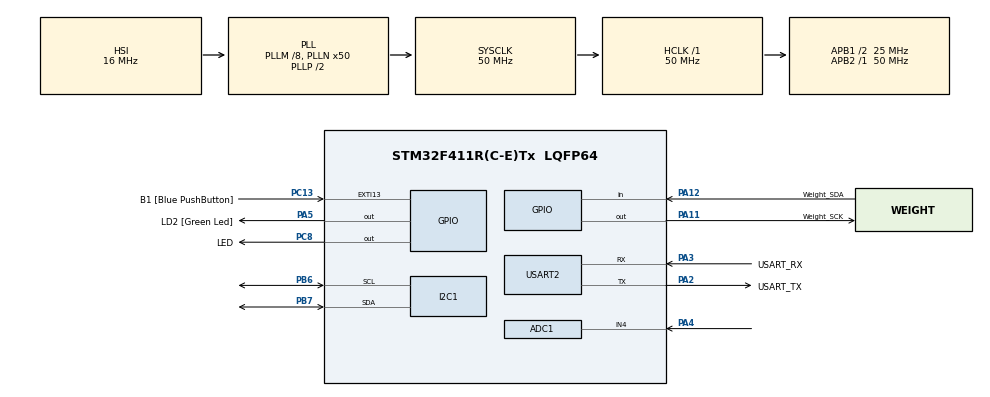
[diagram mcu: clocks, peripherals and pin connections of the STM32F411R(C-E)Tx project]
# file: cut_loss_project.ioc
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ADC1.Channel-1\#ChannelRegularConversion=ADC_CHANNEL_4
ADC1.NbrOfConversionFlag=1
ADC1.Rank-1\#ChannelRegularConversion=1
ADC1.SamplingTime-1\#ChannelRegularConversion=ADC_SAMPLETIME_3CYCLES
ADC1.master=1
FREERTOS.Mutexes01=WeightMutex,Dynamic,NULL
FREERTOS.Tasks01=defaultTask,24,128,StartDefaultTask,Default,NULL,Dynamic,NULL,NULL;weightSensing,8,128,StartWeightSense,Default,NULL,Dynamic,NULL,NULL;resetWeight,8,128,ResetWeightHandle,Default,NULL,Dynamic,NULL,NULL;ledDisplay,8,128,StartWatchLDR,Default,NULL,Dynamic,NULL,NULL
I2C1.OwnAddress=1
Mcu.Family=STM32F4
Mcu.Name=STM32F411R(C-E)Tx
Mcu.Package=LQFP64
NVIC.PriorityGroup=NVIC_PRIORITYGROUP_4
PA11.GPIO_Label=Weight_SCK
PA11.Signal=GPIO_Output
PA12.GPIO_Label=Weight_SDA
PA12.Signal=GPIO_Input
PA13.GPIO_Label=TMS
PA13.Mode=Serial_Wire
PA13.Signal=SYS_JTMS-SWDIO
PA14.GPIO_Label=TCK
PA14.Mode=Serial_Wire
PA14.Signal=SYS_JTCK-SWCLK
PA2.GPIO_Label=USART_TX
PA2.Mode=Asynchronous
PA2.Signal=USART2_TX
PA3.GPIO_Label=USART_RX
PA3.Mode=Asynchronous
PA3.Signal=USART2_RX
PA4.Signal=ADCx_IN4
PA5.GPIO_Label=LD2 [Green Led]
PA5.Signal=GPIO_Output
PB3.GPIO_Label=SWO
PB3.Signal=SYS_JTDO-SWO
PB6.Mode=I2C
PB6.Signal=I2C1_SCL
PB7.Mode=I2C
PB7.Signal=I2C1_SDA
PC13-ANTI_TAMP.GPIO_Label=B1 [Blue PushButton]
PC13-ANTI_TAMP.GPIO_ModeDefaultEXTI=GPIO_MODE_IT_FALLING
PC13-ANTI_TAMP.Signal=GPXTI13
PC14-OSC32_IN.Mode=LSE-External-Oscillator
PC14-OSC32_IN.Signal=RCC_OSC32_IN
PC15-OSC32_OUT.Mode=LSE-External-Oscillator
PC15-OSC32_OUT.Signal=RCC_OSC32_OUT
PC8.GPIO_Label=LED
PC8.GPIO_ModeDefaultOutputPP=GPIO_MODE_OUTPUT_PP
PC8.GPIO_PuPd=GPIO_NOPULL
PC8.Signal=GPIO_Output
PH0\ -\ OSC_IN.Mode=HSE-External-Clock-Source
PH0\ -\ OSC_IN.Signal=RCC_OSC_IN
PH1\ -\ OSC_OUT.Mode=HSE-External-Clock-Source
PH1\ -\ OSC_OUT.Signal=RCC_OSC_OUT
ProjectManager.HeapSize=0x200
ProjectManager.StackSize=0x400
ProjectManager.TargetToolchain=STM32CubeIDE
RCC.48MHZClocksFreq_Value=25000000
RCC.AHBFreq_Value=50000000
RCC.APB1CLKDivider=RCC_HCLK_DIV2
RCC.APB1Freq_Value=25000000
RCC.APB1TimFreq_Value=50000000
RCC.APB2Freq_Value=50000000
RCC.APB2TimFreq_Value=50000000
RCC.CortexFreq_Value=50000000
RCC.FLatency-AdvancedSettings=FLASH_LATENCY_1
RCC.HCLKFreq_Value=50000000
RCC.HSE_VALUE=8000000
RCC.HSI_VALUE=16000000
RCC.PLLM=8
RCC.PLLN=50
RCC.SYSCLKFreq_VALUE=50000000
RCC.SYSCLKSource=RCC_SYSCLKSOURCE_PLLCLK
RCC.VCOOutputFreq_Value=100000000
SH.ADCx_IN4.0=ADC1_IN4,IN4
USART2.VirtualMode=VM_ASYNC
VP_FREERTOS_VS_CMSIS_V2.Mode=CMSIS_V2
board=NUCLEO-F411RE

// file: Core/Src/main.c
/* USER CODE BEGIN Header */
/**
 ******************************************************************************
 * @file           : main.c
 * @brief          : Main program body
 ******************************************************************************
 * @attention
 *
 * Copyright (c) 2022 STMicroelectronics.
 * All rights reserved.
 *
 * This software is licensed under terms that can be found in the LICENSE file
 * in the root directory of this software component.
 * If no LICENSE file comes with this software, it is provided AS-IS.
 *
 ******************************************************************************
 */
/* USER CODE END Header */
#include "main.h"
#include "cmsis_os.h"

ADC_HandleTypeDef hadc1;

I2C_HandleTypeDef hi2c1;

UART_HandleTypeDef huart2;

/* Definitions for defaultTask */
osThreadId_t defaultTaskHandle;
const osThreadAttr_t defaultTask_attributes = {
  .name = "defaultTask",
  .stack_size = 128 * 4,
  .priority = (osPriority_t) osPriorityNormal,
};
/* Definitions for weightSensing */
osThreadId_t weightSensingHandle;
const osThreadAttr_t weightSensing_attributes = {
  .name = "weightSensing",
  .stack_size = 128 * 4,
  .priority = (osPriority_t) osPriorityLow,
};
/* Definitions for resetWeight */
osThreadId_t resetWeightHandle;
const osThreadAttr_t resetWeight_attributes = {
  .name = "resetWeight",
  .stack_size = 128 * 4,
  .priority = (osPriority_t) osPriorityNormal,
};
/* Definitions for ledDisplay */
osThreadId_t ledDisplayHandle;
const osThreadAttr_t ledDisplay_attributes = {
  .name = "ledDisplay",
  .stack_size = 128 * 4,
  .priority = (osPriority_t) osPriorityLow,
};
/* Definitions for WeightMutex */
osMutexId_t WeightMutexHandle;
const osMutexAttr_t WeightMutex_attributes = {
  .name = "WeightMutex"
};
/* USER CODE BEGIN PV */
const uint32_t AVERAGE_ROUND = 30;
uint32_t base_weight = 0;
uint32_t result_offset = 7000;
uint32_t divider = 60;
uint32_t AD_RES;
uint8_t is_reset = 0;

// Positive difference threshold
const uint32_t POSITIVE_THRESHOLD = 300;

// Negative difference threshold
const uint32_t NEGATIVE_THRESHOLD = 300; // Measurement error in average case is around +-250

// Current captured weight
uint32_t captured_weight = 0;
uint32_t now_weight;

// LDR Threshold
float LDR_MX = 3500;
float LDR_MN = 800;

/* USER CODE END PV */

void SystemClock_Config(void);
static void MX_GPIO_Init(void);
static void MX_USART2_UART_Init(void);
static void MX_I2C1_Init(void);
static void MX_ADC1_Init(void);
void StartDefaultTask(void *argument);
void StartWeightSense(void *argument);
void ResetWeightHandle(void *argument);
void StartWatchLDR(void *argument);

/* USER CODE BEGIN PFP */

/**
 * Use for delay in microsecond (Reference to clock speed) by called assembly instruction NOP
 * Credit to https://github.com/nimaltd/HX711/blob/a5a317e818fee1aa02c729257cff0308e5ac61c0/hx711.c#L10
 */

void hx711_delay_us(uint32_t delay) {
	while (delay > 0) {
		delay--;
		asm("NOP");
	}
}

/**
 *  All credit to
 *	- https://cdn.sparkfun.com/datasheets/Sensors/ForceFlex/hx711_english.pdf
 *	- https://github.com/nimaltd/HX711/blob/master/hx711.c
 */
uint32_t read_weight(uint8_t tuning) {
	uint32_t count = 0;
	uint32_t startTime = HAL_GetTick();
	uint8_t found = 1;
	while (HAL_GPIO_ReadPin(Weight_SDA_GPIO_Port, Weight_SDA_Pin)) {
		osDelay(1);

		// Timeout
		if (HAL_GetTick() - startTime > 150) {
			found = 0;
			break;
		}
	}

	if (!found) {
		return 0;
	}

	for (int i = 0; i < 24; ++i) {
		HAL_GPIO_WritePin(Weight_SCK_GPIO_Port, Weight_SCK_Pin, GPIO_PIN_SET);
		hx711_delay_us(20);

		count <<= 1;

		HAL_GPIO_WritePin(Weight_SCK_GPIO_Port, Weight_SCK_Pin, GPIO_PIN_RESET);
		hx711_delay_us(20);
		if (HAL_GPIO_ReadPin(Weight_SDA_GPIO_Port, Weight_SDA_Pin)
				== GPIO_PIN_SET)
			++count;
	}

	count ^= 0x800000;
	HAL_GPIO_WritePin(Weight_SDA_GPIO_Port, Weight_SDA_Pin, GPIO_PIN_SET);
	hx711_delay_us(20);
	HAL_GPIO_WritePin(Weight_SDA_GPIO_Port, Weight_SDA_Pin, GPIO_PIN_RESET);
	hx711_delay_us(20);

	if (tuning == 1)
		return count;
	if (count < base_weight)
		return 0;
	return (count - base_weight);
}

uint32_t read_weight_average() {
	uint32_t now = 0;
	for (int i = 0; i < AVERAGE_ROUND; ++i) {
		uint32_t nxt = read_weight(0) / divider;

		now += nxt;
		osDelay(1);
	}

	if (now <= result_offset)
		return 0;
	return ((now - result_offset) / AVERAGE_ROUND);
}

void set_zero_weight() {
	uint32_t now = 0;
	for (int i = 0; i < AVERAGE_ROUND; ++i) {
		uint32_t nxt = read_weight(1);
		now += nxt;
		osDelay(1);
		if (nxt == 0) {
			--i;
			continue;
		}
	}

	now /= AVERAGE_ROUND;
	base_weight = now;
}
/* USER CODE END PFP */

int main(void)
{

  /* MCU Configuration--------------------------------------------------------*/

  /* Reset of all peripherals, Initializes the Flash interface and the Systick. */
  HAL_Init();

  /* Configure the system clock */
  SystemClock_Config();

  /* Initialize all configured peripherals */
  MX_GPIO_Init();
  MX_USART2_UART_Init();
  MX_I2C1_Init();
  MX_ADC1_Init();
  /* USER CODE BEGIN 2 */

	// Set zero weight
	for (int i = 0; i < 10; ++i) {
		set_zero_weight();
	}

	// ESP Connection Testing
	HAL_StatusTypeDef esp_check;
	while (1) {
		esp_check = HAL_I2C_Slave_Transmit(&hi2c1, "04", 2, 1000);
		esp_check |= HAL_I2C_Slave_Transmit(&hi2c1, "Test", 4, 1000);

		if (esp_check == HAL_OK)
			break;
		HAL_UART_Transmit(&huart2, "Failed to reach esp8266. Retrying\r\n", 35,
				1000);
		HAL_Delay(1000);
	}

	// Set LED on board to tell that Program is ready
	HAL_GPIO_WritePin(LD2_GPIO_Port, LD2_Pin, GPIO_PIN_SET);

  /* USER CODE END 2 */

  /* Init scheduler */
  osKernelInitialize();
  /* Create the mutex(es) */
  /* creation of WeightMutex */
  WeightMutexHandle = osMutexNew(&WeightMutex_attributes);

  /* Create the thread(s) */
  /* creation of defaultTask */
  defaultTaskHandle = osThreadNew(StartDefaultTask, NULL, &defaultTask_attributes);

  /* creation of weightSensing */
  weightSensingHandle = osThreadNew(StartWeightSense, NULL, &weightSensing_attributes);

  /* creation of resetWeight */
  resetWeightHandle = osThreadNew(ResetWeightHandle, NULL, &resetWeight_attributes);

  /* creation of ledDisplay */
  ledDisplayHandle = osThreadNew(StartWatchLDR, NULL, &ledDisplay_attributes);

  /* Start scheduler */
  osKernelStart();

  /* We should never get here as control is now taken by the scheduler */
  /* Infinite loop */
	while (1) {

	}
}

void SystemClock_Config(void)
{
  RCC_OscInitTypeDef RCC_OscInitStruct = {0};
  RCC_ClkInitTypeDef RCC_ClkInitStruct = {0};

  /** Configure the main internal regulator output voltage
  */
  __HAL_RCC_PWR_CLK_ENABLE();
  __HAL_PWR_VOLTAGESCALING_CONFIG(PWR_REGULATOR_VOLTAGE_SCALE1);
  /** Initializes the RCC Oscillators according to the specified parameters
  * in the RCC_OscInitTypeDef structure.
  */
  RCC_OscInitStruct.OscillatorType = RCC_OSCILLATORTYPE_HSI;
  RCC_OscInitStruct.HSIState = RCC_HSI_ON;
  RCC_OscInitStruct.HSICalibrationValue = RCC_HSICALIBRATION_DEFAULT;
  RCC_OscInitStruct.PLL.PLLState = RCC_PLL_ON;
  RCC_OscInitStruct.PLL.PLLSource = RCC_PLLSOURCE_HSI;
  RCC_OscInitStruct.PLL.PLLM = 8;
  RCC_OscInitStruct.PLL.PLLN = 50;
  RCC_OscInitStruct.PLL.PLLP = RCC_PLLP_DIV2;
  RCC_OscInitStruct.PLL.PLLQ = 4;
  if (HAL_RCC_OscConfig(&RCC_OscInitStruct) != HAL_OK)
  {
    Error_Handler();
  }
  /** Initializes the CPU, AHB and APB buses clocks
  */
  RCC_ClkInitStruct.ClockType = RCC_CLOCKTYPE_HCLK|RCC_CLOCKTYPE_SYSCLK
                              |RCC_CLOCKTYPE_PCLK1|RCC_CLOCKTYPE_PCLK2;
  RCC_ClkInitStruct.SYSCLKSource = RCC_SYSCLKSOURCE_PLLCLK;
  RCC_ClkInitStruct.AHBCLKDivider = RCC_SYSCLK_DIV1;
  RCC_ClkInitStruct.APB1CLKDivider = RCC_HCLK_DIV2;
  RCC_ClkInitStruct.APB2CLKDivider = RCC_HCLK_DIV1;

  if (HAL_RCC_ClockConfig(&RCC_ClkInitStruct, FLASH_LATENCY_1) != HAL_OK)
  {
    Error_Handler();
  }
}

static void MX_ADC1_Init(void)
{

  ADC_ChannelConfTypeDef sConfig = {0};

  /** Configure the global features of the ADC (Clock, Resolution, Data Alignment and number of conversion)
  */
  hadc1.Instance = ADC1;
  hadc1.Init.ClockPrescaler = ADC_CLOCK_SYNC_PCLK_DIV2;
  hadc1.Init.Resolution = ADC_RESOLUTION_12B;
  hadc1.Init.ScanConvMode = DISABLE;
  hadc1.Init.ContinuousConvMode = DISABLE;
  hadc1.Init.DiscontinuousConvMode = DISABLE;
  hadc1.Init.ExternalTrigConvEdge = ADC_EXTERNALTRIGCONVEDGE_NONE;
  hadc1.Init.ExternalTrigConv = ADC_SOFTWARE_START;
  hadc1.Init.DataAlign = ADC_DATAALIGN_RIGHT;
  hadc1.Init.NbrOfConversion = 1;
  hadc1.Init.DMAContinuousRequests = DISABLE;
  hadc1.Init.EOCSelection = ADC_EOC_SINGLE_CONV;
  if (HAL_ADC_Init(&hadc1) != HAL_OK)
  {
    Error_Handler();
  }
  /** Configure for the selected ADC regular channel its corresponding rank in the sequencer and its sample time.
  */
  sConfig.Channel = ADC_CHANNEL_4;
  sConfig.Rank = 1;
  sConfig.SamplingTime = ADC_SAMPLETIME_3CYCLES;
  if (HAL_ADC_ConfigChannel(&hadc1, &sConfig) != HAL_OK)
  {
    Error_Handler();
  }

}

static void MX_I2C1_Init(void)
{

  hi2c1.Instance = I2C1;
  hi2c1.Init.ClockSpeed = 100000;
  hi2c1.Init.DutyCycle = I2C_DUTYCYCLE_2;
  hi2c1.Init.OwnAddress1 = 2;
  hi2c1.Init.AddressingMode = I2C_ADDRESSINGMODE_7BIT;
  hi2c1.Init.DualAddressMode = I2C_DUALADDRESS_DISABLE;
  hi2c1.Init.OwnAddress2 = 0;
  hi2c1.Init.GeneralCallMode = I2C_GENERALCALL_DISABLE;
  hi2c1.Init.NoStretchMode = I2C_NOSTRETCH_DISABLE;
  if (HAL_I2C_Init(&hi2c1) != HAL_OK)
  {
    Error_Handler();
  }

}

static void MX_USART2_UART_Init(void)
{

  huart2.Instance = USART2;
  huart2.Init.BaudRate = 115200;
  huart2.Init.WordLength = UART_WORDLENGTH_8B;
  huart2.Init.StopBits = UART_STOPBITS_1;
  huart2.Init.Parity = UART_PARITY_NONE;
  huart2.Init.Mode = UART_MODE_TX_RX;
  huart2.Init.HwFlowCtl = UART_HWCONTROL_NONE;
  huart2.Init.OverSampling = UART_OVERSAMPLING_16;
  if (HAL_UART_Init(&huart2) != HAL_OK)
  {
    Error_Handler();
  }

}

static void MX_GPIO_Init(void)
{
  GPIO_InitTypeDef GPIO_InitStruct = {0};

  /* GPIO Ports Clock Enable */
  __HAL_RCC_GPIOC_CLK_ENABLE();
  __HAL_RCC_GPIOH_CLK_ENABLE();
  __HAL_RCC_GPIOA_CLK_ENABLE();
  __HAL_RCC_GPIOB_CLK_ENABLE();

  /*Configure GPIO pin Output Level */
  HAL_GPIO_WritePin(GPIOA, LD2_Pin|Weight_SCK_Pin, GPIO_PIN_RESET);

  /*Configure GPIO pin Output Level */
  HAL_GPIO_WritePin(LED_GPIO_Port, LED_Pin, GPIO_PIN_RESET);

  /*Configure GPIO pin : B1_Pin */
  GPIO_InitStruct.Pin = B1_Pin;
  GPIO_InitStruct.Mode = GPIO_MODE_IT_FALLING;
  GPIO_InitStruct.Pull = GPIO_NOPULL;
  HAL_GPIO_Init(B1_GPIO_Port, &GPIO_InitStruct);

  /*Configure GPIO pins : LD2_Pin Weight_SCK_Pin */
  GPIO_InitStruct.Pin = LD2_Pin|Weight_SCK_Pin;
  GPIO_InitStruct.Mode = GPIO_MODE_OUTPUT_PP;
  GPIO_InitStruct.Pull = GPIO_NOPULL;
  GPIO_InitStruct.Speed = GPIO_SPEED_FREQ_LOW;
  HAL_GPIO_Init(GPIOA, &GPIO_InitStruct);

  /*Configure GPIO pin : LED_Pin */
  GPIO_InitStruct.Pin = LED_Pin;
  GPIO_InitStruct.Mode = GPIO_MODE_OUTPUT_PP;
  GPIO_InitStruct.Pull = GPIO_NOPULL;
  GPIO_InitStruct.Speed = GPIO_SPEED_FREQ_LOW;
  HAL_GPIO_Init(LED_GPIO_Port, &GPIO_InitStruct);

  /*Configure GPIO pin : Weight_SDA_Pin */
  GPIO_InitStruct.Pin = Weight_SDA_Pin;
  GPIO_InitStruct.Mode = GPIO_MODE_INPUT;
  GPIO_InitStruct.Pull = GPIO_NOPULL;
  HAL_GPIO_Init(Weight_SDA_GPIO_Port, &GPIO_InitStruct);

}

void StartDefaultTask(void *argument)
{
	for (;;) {
		osDelay(1);
	}
}

void StartWeightSense(void *argument)
{
  /* USER CODE BEGIN StartWeightSense */
	/* Infinite loop */
	for (;;) {
		/**
		 * Weight sensing part
		 */
		if(is_reset) {
			osDelay(10);
			continue;
		}
		now_weight = read_weight_average();
		uint8_t is_transmit_data = 0, is_set_data = 0;
		if (now_weight > captured_weight
				&& now_weight - captured_weight >= POSITIVE_THRESHOLD) {
			osDelay(50);
			now_weight = read_weight_average();
			if (now_weight > captured_weight
					&& now_weight - captured_weight >= POSITIVE_THRESHOLD) {
				is_transmit_data = 1;
				is_set_data = 1;
			}
		} else if (now_weight < captured_weight
				&& captured_weight - now_weight >= NEGATIVE_THRESHOLD) {
			// There may have some of measurement delay when place object
			osDelay(50);
			now_weight = read_weight_average();
			if (now_weight < captured_weight
					&& captured_weight - now_weight >= NEGATIVE_THRESHOLD) {
				is_set_data = 1;
			}
		}

		/**
		 * Transmit data to esp, the transfer data process has 2 steps
		 * 1) Send data length
		 * 2) Send data content
		 */
		if(is_set_data) {
			uint32_t tmp = captured_weight;
			captured_weight = now_weight;
			if (is_transmit_data) {
				uint8_t ch[30] = "";
				uint8_t szch[2] = "";

				int sz = sprintf(ch, "%d", captured_weight - tmp);

				if (sz < 10) {
					sprintf(szch, "0%d", sz);
				} else {
					sprintf(szch, "%d", sz);
				}

				HAL_StatusTypeDef result_sz = HAL_I2C_Slave_Transmit(&hi2c1, szch,
						2, 10000);
				if (result_sz == HAL_OK) {
					HAL_I2C_Slave_Transmit(&hi2c1, ch, sz, 10000);
				}
			}
		}
		osDelay(50);
	}
  /* USER CODE END StartWeightSense */
}

void ResetWeightHandle(void *argument)
{
  /* USER CODE BEGIN ResetWeightHandle */
	/* Infinite loop */
	/**
	 * Reset button (on board)
	 */
	for (;;) {
		GPIO_PinState btn = HAL_GPIO_ReadPin(B1_GPIO_Port, B1_Pin);
		if (btn == GPIO_PIN_RESET) {
			is_reset = 1;
			HAL_GPIO_WritePin(LD2_GPIO_Port, LD2_Pin, GPIO_PIN_RESET);
			for (int i = 0; i < 10; ++i) {
				set_zero_weight();
				osDelay(1);
			}
			captured_weight = 0;
			while (HAL_GPIO_ReadPin(B1_GPIO_Port, B1_Pin) == GPIO_PIN_RESET)
				osDelay(50);
			HAL_GPIO_WritePin(LD2_GPIO_Port, LD2_Pin, GPIO_PIN_SET);
			is_reset = 0;
		}
		osDelay(10);
	}
  /* USER CODE END ResetWeightHandle */
}

void StartWatchLDR(void *argument)
{
  /* USER CODE BEGIN StartWatchLDR */
	/* Infinite loop */
	/**
	 * ADC Part (For turn on light at night)
	 */
	for (;;) {
		HAL_ADC_Start(&hadc1);
		HAL_ADC_PollForConversion(&hadc1, 1);
		AD_RES = HAL_ADC_GetValue(&hadc1);

		float tmp = AD_RES;
		float calC = (1.0 - (LDR_MX - tmp) / (LDR_MX - LDR_MN));

		LDR_MX = tmp > LDR_MX ? tmp : LDR_MX;
		LDR_MN = tmp < LDR_MN ? tmp : LDR_MN;

		if (calC < 0.4) {
			HAL_GPIO_WritePin(LED_GPIO_Port, LED_Pin, GPIO_PIN_SET);
		} else {
			HAL_GPIO_WritePin(LED_GPIO_Port, LED_Pin, GPIO_PIN_RESET);
		}

		osDelay(3000);
	}
  /* USER CODE END StartWatchLDR */
}

void Error_Handler(void)
{
	__disable_irq();
	while (1) {
	}
}
